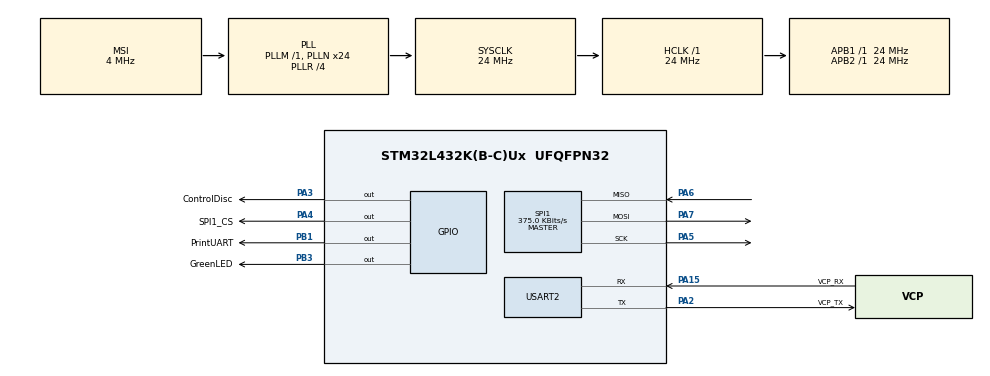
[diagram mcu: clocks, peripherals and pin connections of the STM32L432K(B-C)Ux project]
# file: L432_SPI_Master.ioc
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FREERTOS.Tasks01=controlDisc,24,256,controlDiscFn,Default,NULL,Dynamic,NULL,NULL;printDiscSts,24,256,printDiscStsFn,Default,NULL,Dynamic,NULL,NULL
FREERTOS.configENABLE_FPU=1
FREERTOS.configMINIMAL_STACK_SIZE=256
FREERTOS.configUSE_NEWLIB_REENTRANT=1
Mcu.Family=STM32L4
Mcu.Name=STM32L432K(B-C)Ux
Mcu.Package=UFQFPN32
NVIC.PriorityGroup=NVIC_PRIORITYGROUP_4
NVIC.SPI1_IRQn=true\:5\:0\:false\:false\:true\:true\:true\:true\:true
NVIC.TIM6_DAC_IRQn=true\:15\:0\:false\:false\:true\:false\:false\:true\:true
NVIC.TimeBase=TIM6_DAC_IRQn
NVIC.TimeBaseIP=TIM6
PA0.GPIO_Label=MCO [High speed clock in]
PA0.Mode=HSE-External-Clock-Source-for-LittleOrca
PA0.Signal=RCC_CK_IN
PA13\ (JTMS-SWDIO).GPIO_Label=SWDIO
PA13\ (JTMS-SWDIO).Mode=Serial_Wire
PA13\ (JTMS-SWDIO).Signal=SYS_JTMS-SWDIO
PA14\ (JTCK-SWCLK).GPIO_Label=SWCLK
PA14\ (JTCK-SWCLK).Mode=Serial_Wire
PA14\ (JTCK-SWCLK).Signal=SYS_JTCK-SWCLK
PA15\ (JTDI).GPIO_Label=VCP_RX
PA15\ (JTDI).Mode=Asynchronous
PA15\ (JTDI).Signal=USART2_RX
PA2.GPIO_Label=VCP_TX
PA2.Mode=Asynchronous
PA2.Signal=USART2_TX
PA3.GPIO_Label=ControlDisc
PA3.Signal=GPIO_Output
PA4.GPIO_Label=SPI1_CS
PA4.Signal=GPIO_Output
PA5.Mode=Full_Duplex_Master
PA5.Signal=SPI1_SCK
PA6.Mode=Full_Duplex_Master
PA6.Signal=SPI1_MISO
PA7.Mode=Full_Duplex_Master
PA7.Signal=SPI1_MOSI
PB1.GPIO_Label=PrintUART
PB1.Signal=GPIO_Output
PB3\ (JTDO-TRACESWO).GPIO_Label=GreenLED
PB3\ (JTDO-TRACESWO).Signal=GPIO_Output
PC14-OSC32_IN\ (PC14).Mode=LSE-External-Oscillator
PC14-OSC32_IN\ (PC14).Signal=RCC_OSC32_IN
PC15-OSC32_OUT\ (PC15).Mode=LSE-External-Oscillator
PC15-OSC32_OUT\ (PC15).Signal=RCC_OSC32_OUT
ProjectManager.HeapSize=0x400
ProjectManager.StackSize=0x800
ProjectManager.TargetToolchain=STM32CubeIDE
RCC.AHBFreq_Value=24000000
RCC.APB1Freq_Value=24000000
RCC.APB1TimFreq_Value=24000000
RCC.APB2Freq_Value=24000000
RCC.APB2TimFreq_Value=24000000
RCC.CortexFreq_Value=24000000
RCC.HCLKFreq_Value=24000000
RCC.HSE_VALUE=8000000
RCC.HSI16_VALUE=16000000
RCC.HSI48_VALUE=48000000
RCC.HSI_VALUE=16000000
RCC.MSI_VALUE=4000000
RCC.PLLMUL=RCC_PLLMUL_4
RCC.PLLN=24
RCC.PLLR=RCC_PLLR_DIV4
RCC.SYSCLKFreq_VALUE=24000000
RCC.SYSCLKSource=RCC_SYSCLKSOURCE_PLLCLK
RCC.VCOOutputFreq_Value=96000000
SPI1.BaudRatePrescaler=SPI_BAUDRATEPRESCALER_64
SPI1.CalculateBaudRate=375.0 KBits/s
SPI1.DataSize=SPI_DATASIZE_16BIT
SPI1.Direction=SPI_DIRECTION_2LINES
SPI1.Mode=SPI_MODE_MASTER
SPI1.VirtualType=VM_MASTER
TIM2.Prescaler=24-1
TIM7.Prescaler=24000-1
USART2.VirtualMode-Asynchronous=VM_ASYNC
VP_FREERTOS_VS_CMSIS_V2.Mode=CMSIS_V2
VP_SYS_VS_tim6.Mode=TIM6
VP_TIM2_VS_ClockSourceINT.Mode=Internal
VP_TIM7_VS_ClockSourceINT.Mode=Enable_Timer
board=NUCLEO-L432KC

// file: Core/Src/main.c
/* USER CODE BEGIN Header */
/**
  ******************************************************************************
  * @file           : main.c
  * @brief          : Main program body
  ******************************************************************************
  * @attention
  *
  * Copyright (c) 2025 STMicroelectronics.
  * All rights reserved.
  *
  * This software is licensed under terms that can be found in the LICENSE file
  * in the root directory of this software component.
  * If no LICENSE file comes with this software, it is provided AS-IS.
  *
  ******************************************************************************
  */
/* USER CODE END Header */
#include "main.h"
#include "cmsis_os.h"

/* USER CODE BEGIN Includes */
#include "SPI_Comms.h"
#include "string.h"
/* USER CODE END Includes */

SPI_HandleTypeDef hspi1;

TIM_HandleTypeDef htim2;
TIM_HandleTypeDef htim7;

UART_HandleTypeDef huart2;

/* Definitions for controlDisc */
osThreadId_t controlDiscHandle;
const osThreadAttr_t controlDisc_attributes = {
  .name = "controlDisc",
  .stack_size = 256 * 4,
  .priority = (osPriority_t) osPriorityNormal,
};
/* Definitions for printDiscSts */
osThreadId_t printDiscStsHandle;
const osThreadAttr_t printDiscSts_attributes = {
  .name = "printDiscSts",
  .stack_size = 256 * 4,
  .priority = (osPriority_t) osPriorityNormal,
};

void SystemClock_Config(void);
static void MX_GPIO_Init(void);
static void MX_USART2_UART_Init(void);
static void MX_SPI1_Init(void);
static void MX_TIM2_Init(void);
static void MX_TIM7_Init(void);
void controlDiscFn(void *argument);
void printDiscStsFn(void *argument);

/* USER CODE BEGIN PFP */
uint8_t txStrelkaSPI[10];
uint8_t rxStrelkaSPI[10];
uint8_t txDiscSPI[10];
uint8_t rxDiscSPI[10];

SPI_HandleTypeDef* SPICommsHandle = &hspi1;
TIM_HandleTypeDef* MicrosTimer = &htim2;
TIM_HandleTypeDef* MillisTimer = &htim7;

DeviceStatus_t discStatus = {
		.currentPosition = 0,
		.currentTime = 0,
		.targetPosition = 0,
		.isMoving = 0
};
/* USER CODE END PFP */

/* USER CODE BEGIN 0 */
void HAL_SPI_RxCpltCallback(SPI_HandleTypeDef* hspi);

void HAL_SPI_TxRxCpltCallback(SPI_HandleTypeDef* hspi) {

	if (hspi == &hspi1) {
		// Master finished transmitting a target position - read discStatus
		PacketDeviceStatus_t* rcvd = (PacketDeviceStatus_t* ) rxStrelkaSPI;

		discStatus.currentPosition = rcvd->currentPosition;
		discStatus.targetPosition = rcvd->targetPosition;
		// Read in the processed
	}
}

uint32_t micros(void) {
	return __HAL_TIM_GET_COUNTER(MicrosTimer);
}

uint16_t millis(void) {
	return __HAL_TIM_GET_COUNTER(MillisTimer);
}
/* USER CODE END 0 */

int main(void)
{

  /* MCU Configuration--------------------------------------------------------*/

  /* Reset of all peripherals, Initializes the Flash interface and the Systick. */
  HAL_Init();

  /* Configure the system clock */
  SystemClock_Config();

  /* Initialize all configured peripherals */
  MX_GPIO_Init();
  MX_USART2_UART_Init();
  MX_SPI1_Init();
  MX_TIM2_Init();
  MX_TIM7_Init();

  /* Init scheduler */
  osKernelInitialize();

  /* Create the thread(s) */
  /* creation of controlDisc */
  controlDiscHandle = osThreadNew(controlDiscFn, NULL, &controlDisc_attributes);

  /* creation of printDiscSts */
  printDiscStsHandle = osThreadNew(printDiscStsFn, NULL, &printDiscSts_attributes);

  /* USER CODE BEGIN RTOS_EVENTS */
  /* add events, ... */

  HAL_TIM_Base_Start(MicrosTimer);
  HAL_TIM_Base_Start(MillisTimer);
  /* USER CODE END RTOS_EVENTS */

  /* Start scheduler */
  osKernelStart();

  /* We should never get here as control is now taken by the scheduler */

  /* Infinite loop */
  while (1)
  {

  }
}

void SystemClock_Config(void)
{
  RCC_OscInitTypeDef RCC_OscInitStruct = {0};
  RCC_ClkInitTypeDef RCC_ClkInitStruct = {0};

  /** Configure the main internal regulator output voltage
  */
  if (HAL_PWREx_ControlVoltageScaling(PWR_REGULATOR_VOLTAGE_SCALE1) != HAL_OK)
  {
    Error_Handler();
  }

  /** Configure LSE Drive Capability
  */
  HAL_PWR_EnableBkUpAccess();
  __HAL_RCC_LSEDRIVE_CONFIG(RCC_LSEDRIVE_LOW);

  /** Initializes the RCC Oscillators according to the specified parameters
  * in the RCC_OscInitTypeDef structure.
  */
  RCC_OscInitStruct.OscillatorType = RCC_OSCILLATORTYPE_LSE|RCC_OSCILLATORTYPE_MSI;
  RCC_OscInitStruct.LSEState = RCC_LSE_ON;
  RCC_OscInitStruct.MSIState = RCC_MSI_ON;
  RCC_OscInitStruct.MSICalibrationValue = 0;
  RCC_OscInitStruct.MSIClockRange = RCC_MSIRANGE_6;
  RCC_OscInitStruct.PLL.PLLState = RCC_PLL_ON;
  RCC_OscInitStruct.PLL.PLLSource = RCC_PLLSOURCE_MSI;
  RCC_OscInitStruct.PLL.PLLM = 1;
  RCC_OscInitStruct.PLL.PLLN = 24;
  RCC_OscInitStruct.PLL.PLLP = RCC_PLLP_DIV7;
  RCC_OscInitStruct.PLL.PLLQ = RCC_PLLQ_DIV2;
  RCC_OscInitStruct.PLL.PLLR = RCC_PLLR_DIV4;
  if (HAL_RCC_OscConfig(&RCC_OscInitStruct) != HAL_OK)
  {
    Error_Handler();
  }

  /** Initializes the CPU, AHB and APB buses clocks
  */
  RCC_ClkInitStruct.ClockType = RCC_CLOCKTYPE_HCLK|RCC_CLOCKTYPE_SYSCLK
                              |RCC_CLOCKTYPE_PCLK1|RCC_CLOCKTYPE_PCLK2;
  RCC_ClkInitStruct.SYSCLKSource = RCC_SYSCLKSOURCE_PLLCLK;
  RCC_ClkInitStruct.AHBCLKDivider = RCC_SYSCLK_DIV1;
  RCC_ClkInitStruct.APB1CLKDivider = RCC_HCLK_DIV1;
  RCC_ClkInitStruct.APB2CLKDivider = RCC_HCLK_DIV1;

  if (HAL_RCC_ClockConfig(&RCC_ClkInitStruct, FLASH_LATENCY_1) != HAL_OK)
  {
    Error_Handler();
  }

  /** Enable MSI Auto calibration
  */
  HAL_RCCEx_EnableMSIPLLMode();
}

static void MX_SPI1_Init(void)
{

  /* SPI1 parameter configuration*/
  hspi1.Instance = SPI1;
  hspi1.Init.Mode = SPI_MODE_MASTER;
  hspi1.Init.Direction = SPI_DIRECTION_2LINES;
  hspi1.Init.DataSize = SPI_DATASIZE_16BIT;
  hspi1.Init.CLKPolarity = SPI_POLARITY_LOW;
  hspi1.Init.CLKPhase = SPI_PHASE_1EDGE;
  hspi1.Init.NSS = SPI_NSS_SOFT;
  hspi1.Init.BaudRatePrescaler = SPI_BAUDRATEPRESCALER_64;
  hspi1.Init.FirstBit = SPI_FIRSTBIT_MSB;
  hspi1.Init.TIMode = SPI_TIMODE_DISABLE;
  hspi1.Init.CRCCalculation = SPI_CRCCALCULATION_DISABLE;
  hspi1.Init.CRCPolynomial = 7;
  hspi1.Init.CRCLength = SPI_CRC_LENGTH_DATASIZE;
  hspi1.Init.NSSPMode = SPI_NSS_PULSE_ENABLE;
  if (HAL_SPI_Init(&hspi1) != HAL_OK)
  {
    Error_Handler();
  }

}

static void MX_TIM2_Init(void)
{

  TIM_ClockConfigTypeDef sClockSourceConfig = {0};
  TIM_MasterConfigTypeDef sMasterConfig = {0};

  htim2.Instance = TIM2;
  htim2.Init.Prescaler = 24-1;
  htim2.Init.CounterMode = TIM_COUNTERMODE_UP;
  htim2.Init.Period = 4294967295;
  htim2.Init.ClockDivision = TIM_CLOCKDIVISION_DIV1;
  htim2.Init.AutoReloadPreload = TIM_AUTORELOAD_PRELOAD_DISABLE;
  if (HAL_TIM_Base_Init(&htim2) != HAL_OK)
  {
    Error_Handler();
  }
  sClockSourceConfig.ClockSource = TIM_CLOCKSOURCE_INTERNAL;
  if (HAL_TIM_ConfigClockSource(&htim2, &sClockSourceConfig) != HAL_OK)
  {
    Error_Handler();
  }
  sMasterConfig.MasterOutputTrigger = TIM_TRGO_RESET;
  sMasterConfig.MasterSlaveMode = TIM_MASTERSLAVEMODE_DISABLE;
  if (HAL_TIMEx_MasterConfigSynchronization(&htim2, &sMasterConfig) != HAL_OK)
  {
    Error_Handler();
  }

}

static void MX_TIM7_Init(void)
{

  TIM_MasterConfigTypeDef sMasterConfig = {0};

  htim7.Instance = TIM7;
  htim7.Init.Prescaler = 24000-1;
  htim7.Init.CounterMode = TIM_COUNTERMODE_UP;
  htim7.Init.Period = 65535;
  htim7.Init.AutoReloadPreload = TIM_AUTORELOAD_PRELOAD_DISABLE;
  if (HAL_TIM_Base_Init(&htim7) != HAL_OK)
  {
    Error_Handler();
  }
  sMasterConfig.MasterOutputTrigger = TIM_TRGO_RESET;
  sMasterConfig.MasterSlaveMode = TIM_MASTERSLAVEMODE_DISABLE;
  if (HAL_TIMEx_MasterConfigSynchronization(&htim7, &sMasterConfig) != HAL_OK)
  {
    Error_Handler();
  }

}

static void MX_USART2_UART_Init(void)
{

  huart2.Instance = USART2;
  huart2.Init.BaudRate = 115200;
  huart2.Init.WordLength = UART_WORDLENGTH_8B;
  huart2.Init.StopBits = UART_STOPBITS_1;
  huart2.Init.Parity = UART_PARITY_NONE;
  huart2.Init.Mode = UART_MODE_TX_RX;
  huart2.Init.HwFlowCtl = UART_HWCONTROL_NONE;
  huart2.Init.OverSampling = UART_OVERSAMPLING_16;
  huart2.Init.OneBitSampling = UART_ONE_BIT_SAMPLE_DISABLE;
  huart2.AdvancedInit.AdvFeatureInit = UART_ADVFEATURE_NO_INIT;
  if (HAL_UART_Init(&huart2) != HAL_OK)
  {
    Error_Handler();
  }

}

static void MX_GPIO_Init(void)
{
  GPIO_InitTypeDef GPIO_InitStruct = {0};

  /* GPIO Ports Clock Enable */
  __HAL_RCC_GPIOC_CLK_ENABLE();
  __HAL_RCC_GPIOA_CLK_ENABLE();
  __HAL_RCC_GPIOB_CLK_ENABLE();

  /*Configure GPIO pin Output Level */
  HAL_GPIO_WritePin(GPIOA, ControlDisc_Pin|SPI1_CS_Pin, GPIO_PIN_RESET);

  /*Configure GPIO pin Output Level */
  HAL_GPIO_WritePin(GPIOB, PrintUART_Pin|GreenLED_Pin, GPIO_PIN_RESET);

  /*Configure GPIO pins : ControlDisc_Pin SPI1_CS_Pin */
  GPIO_InitStruct.Pin = ControlDisc_Pin|SPI1_CS_Pin;
  GPIO_InitStruct.Mode = GPIO_MODE_OUTPUT_PP;
  GPIO_InitStruct.Pull = GPIO_NOPULL;
  GPIO_InitStruct.Speed = GPIO_SPEED_FREQ_LOW;
  HAL_GPIO_Init(GPIOA, &GPIO_InitStruct);

  /*Configure GPIO pins : PrintUART_Pin GreenLED_Pin */
  GPIO_InitStruct.Pin = PrintUART_Pin|GreenLED_Pin;
  GPIO_InitStruct.Mode = GPIO_MODE_OUTPUT_PP;
  GPIO_InitStruct.Pull = GPIO_NOPULL;
  GPIO_InitStruct.Speed = GPIO_SPEED_FREQ_LOW;
  HAL_GPIO_Init(GPIOB, &GPIO_InitStruct);

}

void controlDiscFn(void *argument)
{
  /* USER CODE BEGIN 5 */

	float targetPosition = 0.0f;
	float lowerLim = 0.0f;			// Min of 0 revolutions
	float upperLim = 1.0f;		// Max of 1 revolution

	int32_t counter = 0;
	uint32_t timestamp = micros();

	/* Infinite loop */
  for(;;)
  {
	  // Get current timestamp
	  timestamp = micros();

	  // Transmit a new target position packet
	  transmitTargetPosition(timestamp, (uint16_t) targetPosition*65535);

	  counter += 1;
	  if (counter > 20) {
		  // Update target position if needed
		  targetPosition += 0.05;
		  counter = 0;
		  if (targetPosition > upperLim) {
			  targetPosition = lowerLim;
		  }
	  }

	  HAL_GPIO_TogglePin(ControlDisc_GPIO_Port, ControlDisc_Pin);
    osDelay(100);
  }
  /* USER CODE END 5 */
}

void printDiscStsFn(void *argument)
{
  /* USER CODE BEGIN printDiscStsFn */

	uint8_t printBuff[16];

	/* Infinite loop */
  for(;;)
  {
	  // Sprintf data into buffer and UART across
	  sprintf(printBuff, "%.2f,%.2f,%d\n", discStatus.currentPosition, discStatus.targetPosition, discStatus.currentTime);
	  HAL_UART_Transmit(&huart2, printBuff, strlen(printBuff), 100);

	  HAL_GPIO_TogglePin(PrintUART_GPIO_Port, PrintUART_Pin);
    osDelay(100);
  }
  /* USER CODE END printDiscStsFn */
}

void HAL_TIM_PeriodElapsedCallback(TIM_HandleTypeDef *htim)
{
  if (htim->Instance == TIM6) {
    HAL_IncTick();
  }
}

void Error_Handler(void)
{
  __disable_irq();
  while (1)
  {
  }
}
